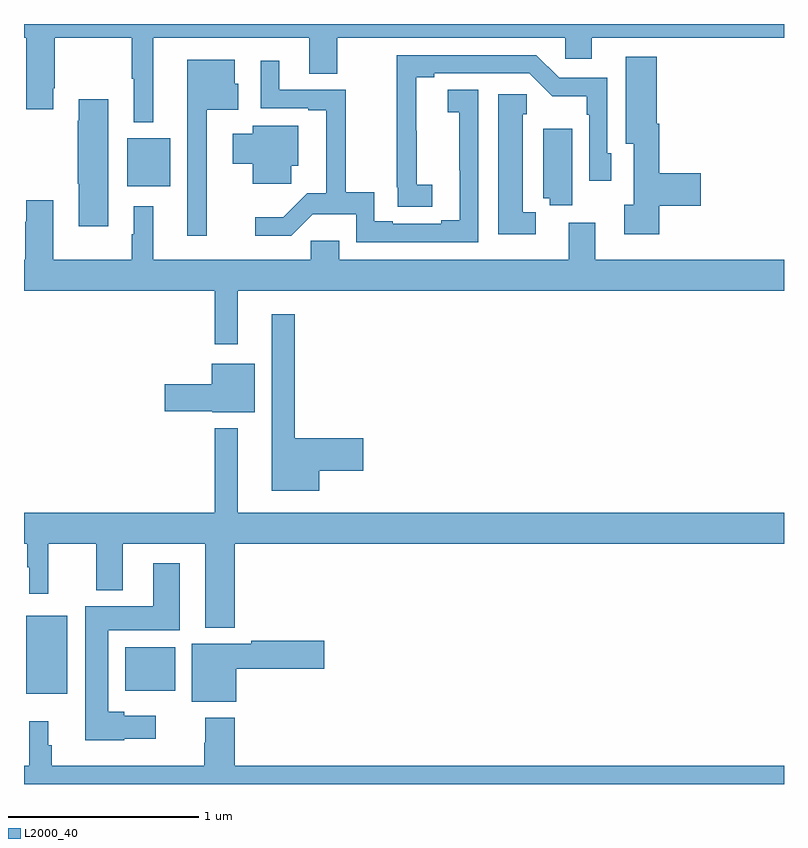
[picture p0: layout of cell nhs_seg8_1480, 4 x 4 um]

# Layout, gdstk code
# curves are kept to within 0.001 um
import gdstk
lib = gdstk.Library(unit=1e-6, precision=1e-09)
def R(c, l, rs):  # rectangles x0, y0, x1, y1
    for r in rs: c.add(gdstk.rectangle(r[:2], r[2:], *l))
def P(c, l, *ps):  # polygons
    for p in ps: c.add(gdstk.Polygon(p, *l))
L2000_40 = (2000, 40)

nhs_seg8_1480 = lib.new_cell('nhs_seg8_1480')
R(nhs_seg8_1480, L2000_40, [(205.013,1118.375,205.228,1118.785), (205.532,1118.39,205.795,1118.62), (205.544,1121.045,205.771,1121.299)])
P(nhs_seg8_1480, L2000_40, [(205.681,1121.828),(206.501,1121.828),(206.501,1121.638),(206.649,1121.638),(206.649,1121.828),(207.849,1121.828),(207.849,1121.718),(207.988,1121.718),(207.988,1121.828),(209,1121.828),(209,1121.9),(205,1121.9),(205,1121.828),(205.013,1121.828),(205.013,1121.451),(205.153,1121.451),(205.153,1121.563),(205.161,1121.563),(205.161,1121.828),(205.567,1121.828),(205.567,1121.612),(205.577,1121.612),(205.577,1121.384),(205.681,1121.384)],
  [(207.148,1121.054),(207.066,1121.054),(207.064,1121.62),(207.16,1121.62),(207.16,1121.64),(207.66,1121.64),(207.781,1121.519),(207.963,1121.519),(207.963,1121.423),(207.975,1121.423),(207.975,1121.076),(208.092,1121.076),(208.092,1121.22),(208.071,1121.22),(208.071,1121.616),(207.816,1121.616),(207.696,1121.736),(206.962,1121.736),(206.962,1121.041),(206.968,1121.041),(206.968,1120.939),(207.148,1120.939)],
  [(208.343,1120.943),(208.561,1120.943),(208.561,1121.114),(208.343,1121.114),(208.343,1121.374),(208.33,1121.374),(208.33,1121.728),(208.166,1121.728),(208.166,1121.27),(208.208,1121.27),(208.208,1120.95),(208.158,1120.95),(208.158,1120.794),(208.343,1120.794)],
  [(205.963,1121.45),(206.128,1121.45),(206.128,1121.586),(206.11,1121.586),(206.11,1121.713),(205.859,1121.713),(205.859,1120.785),(205.963,1120.785)],
  [(207.39,1121.555),(207.231,1121.555),(207.231,1121.435),(207.292,1121.435),(207.293,1120.868),(207.197,1120.868),(207.197,1120.848),(206.941,1120.848),(206.941,1120.862),(206.844,1120.862),(206.844,1121.015),(206.693,1121.015),(206.693,1121.553),(206.344,1121.553),(206.344,1121.707),(206.247,1121.707),(206.247,1121.457),(206.495,1121.457),(206.495,1121.445),(206.591,1121.445),(206.591,1121.008),(206.491,1121.008),(206.365,1120.882),(206.217,1120.882),(206.217,1120.785),(206.406,1120.785),(206.519,1120.898),(206.748,1120.898),(206.748,1120.752),(207.39,1120.752)],
  [(207.694,1120.908),(207.625,1120.908),(207.625,1121.424),(207.647,1121.424),(207.647,1121.53),(207.497,1121.53),(207.497,1120.793),(207.694,1120.793)],
  [(205.444,1121.503),(205.289,1121.503),(205.289,1121.39),(205.282,1121.39),(205.282,1121.059),(205.289,1121.059),(205.289,1120.836),(205.444,1120.836)],
  [(206.407,1121.153),(206.443,1121.153),(206.443,1121.365),(206.204,1121.365),(206.204,1121.323),(206.099,1121.323),(206.099,1121.165),(206.204,1121.165),(206.204,1121.06),(206.407,1121.06)],
  [(207.886,1121.35),(207.734,1121.35),(207.734,1120.982),(207.766,1120.982),(207.766,1120.945),(207.886,1120.945)],
  [(206.125,1120.496),(209,1120.496),(209,1120.66),(208.006,1120.66),(208.006,1120.855),(207.866,1120.855),(207.866,1120.66),(206.659,1120.66),(206.659,1120.758),(206.508,1120.758),(206.508,1120.66),(205.681,1120.66),(205.681,1120.942),(205.577,1120.942),(205.577,1120.793),(205.567,1120.793),(205.567,1120.66),(205.153,1120.66),(205.153,1120.972),(205.013,1120.972),(205.013,1120.859),(205.006,1120.859),(205.006,1120.66),(205,1120.66),(205,1120.496),(206.004,1120.496),(206.004,1120.215),(206.125,1120.215)],
  [(206.554,1119.548),(206.785,1119.548),(206.785,1119.719),(206.425,1119.719),(206.425,1120.372),(206.303,1120.372),(206.303,1119.443),(206.554,1119.443)],
  [(206.215,1120.111),(205.988,1120.111),(205.988,1120.005),(205.74,1120.005),(205.74,1119.863),(205.992,1119.863),(205.992,1119.857),(206.215,1119.857)],
  [(206.108,1119.164),(209,1119.164),(209,1119.328),(206.125,1119.328),(206.125,1119.772),(206.004,1119.772),(206.004,1119.328),(205,1119.328),(205,1119.164),(205.017,1119.164),(205.017,1119.041),(205.028,1119.041),(205.028,1118.901),(205.128,1118.901),(205.128,1119.164),(205.379,1119.164),(205.379,1118.921),(205.519,1118.921),(205.519,1119.164),(205.955,1119.164),(205.955,1118.723),(206.108,1118.723)],
  [(205.527,1118.138),(205.693,1118.138),(205.693,1118.26),(205.527,1118.26),(205.527,1118.281),(205.444,1118.281),(205.444,1118.708),(205.819,1118.708),(205.819,1119.061),(205.679,1119.061),(205.679,1118.836),(205.322,1118.836),(205.322,1118.129),(205.527,1118.129)],
  [(206.116,1118.507),(206.581,1118.507),(206.581,1118.654),(206.196,1118.654),(206.196,1118.638),(205.883,1118.638),(205.883,1118.333),(206.116,1118.333)],
  [(209,1117.996),(206.108,1117.996),(206.108,1118.248),(205.955,1118.248),(205.955,1118.117),(205.948,1118.117),(205.948,1117.996),(205.145,1117.996),(205.145,1118.105),(205.127,1118.105),(205.127,1118.23),(205.028,1118.23),(205.028,1117.996),(205,1117.996),(205,1117.9),(209,1117.9)])

lib.write_gds('nhs_seg8_1480.gds')
